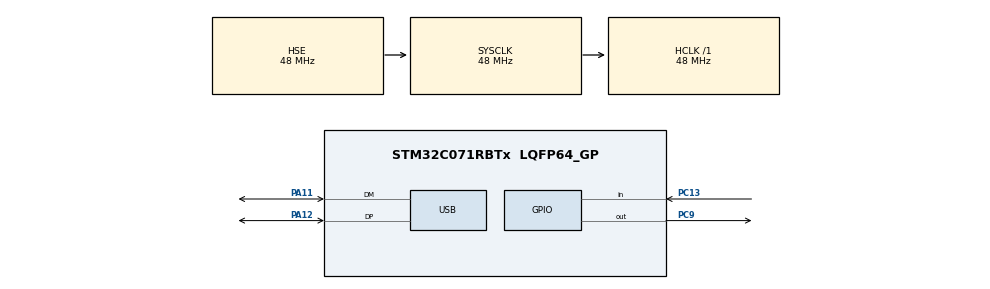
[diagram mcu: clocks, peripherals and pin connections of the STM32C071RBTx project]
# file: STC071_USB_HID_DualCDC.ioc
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Mcu.Family=STM32C0
Mcu.Name=STM32C071RBTx
Mcu.Package=LQFP64_GP
NUCLEO-C071RB.BUTTON=1
NUCLEO-C071RB.Bsp_Common_DEMO=true
NUCLEO-C071RB.LD1=true
NUCLEO-C071RB.LD2=true
NUCLEO-C071RB.VCP=true
NVIC.EXTI4_15_IRQn=true\:0\:0\:false\:false\:true\:false\:true\:true
NVIC.USB_DRD_FS_IRQn=true\:0\:0\:false\:false\:true\:true\:true\:true
PA11\ [PA9].Mode=Device
PA11\ [PA9].Signal=USB_DM
PA12\ [PA10].Mode=Device
PA12\ [PA10].Signal=USB_DP
PA13.Mode=Serial_Wire
PA13.Signal=DEBUG_SWDIO
PA14-BOOT0.Mode=Serial_Wire
PA14-BOOT0.Signal=DEBUG_SWCLK
PA2.Signal=USART2_TX
PA3.Signal=USART2_RX
PC13.Signal=GPIO_Input
PC9.Signal=GPIO_Output
PF0-OSC_IN(PF0).Mode=HSE-External-Oscillator
PF0-OSC_IN(PF0).Signal=RCC_OSC_IN
PF1-OSC_OUT(PF1).Mode=HSE-External-Oscillator
PF1-OSC_OUT(PF1).Signal=RCC_OSC_OUT
ProjectManager.HeapSize=0x1000
ProjectManager.StackSize=0x1000
ProjectManager.TargetToolchain=EWARM V9.30
RCC.ADCFreq_Value=48000000
RCC.AHBFreq_Value=48000000
RCC.CortexFreq_Value=48000000
RCC.EXTERNAL_CLOCK_VALUE=12288000
RCC.HCLKFreq_Value=48000000
RCC.HSE_VALUE=48000000
RCC.HSI48_VALUE=48000000
RCC.HSI_VALUE=48000000
RCC.LSE_VALUE=32768
RCC.SYSCLKFreq_VALUE=48000000
RCC.SYSCLKSource=RCC_SYSCLKSOURCE_HSE
USB.VirtualMode=Device_Only
USBX.BSP.number=1
USBX.Core_System=1
USBX.REG_USBX_DEVICE_CON_CK=0
USBX.USBD_CDCACM_EPINCMD_ADDR=3
USBX.USBD_CDCACM_EPIN_ADDR=2
USBX.USBD_CDCACM_EPOUT_ADDR=2
USBX.USBD_PID=22352
USBX.USBD_PRODUCT_STRING=STM32 USB HID DualCDC Device
USBX.USBD_SERIAL_NUMBER=COMP001
USBX.USBX_DEVICE_SYS_SIZE=8*1024
USBX.UX_DEVICE_APP_MEM_POOL_SIZE_STANDALONE=8*1024
USBX.UX_DEVICE_CDC_ACM=1
USBX.UX_DEVICE_CLASS_CDC_ACM_WRITE_AUTO_ZLP=1
USBX.UX_DEVICE_HID_CORE=1
USBX.UX_DEVICE_HID_MOUSE=1
USBX.UX_Device_Controller=1
USBX.UX_Device_CoreStack=1
USBX.UX_MAX_SLAVE_CLASS_DRIVER=3
USBX.UX_SLAVE_REQUEST_DATA_MAX_LENGTH=512
USBX0.BSP.STBoard=false
USBX0.BSP.api=Unknown
USBX0.BSP.instance=USB
USBX0.BSP.ip=USB
USBX0.BSP.mode=Device_Only
USBX0.BSP.name=USB_Device
USBX0.BSP.solution=USB
VP_NUCLEO-C071RB_VS_BSP_COMMON.Mode=COMMON
VP_USBX_Core_System.Mode=Core_System
VP_USBX_UX\ Device\ CDC\ ACM\ Class_FS.Mode=UX_Device_class_CDC_ACM_FS
VP_USBX_UX\ Device\ Controller_FS.Mode=UX_Device_Controller_FS
VP_USBX_UX\ Device\ CoreStack_FS.Mode=UX_Device_CoreStack_FS
VP_USBX_UX\ Device\ HID_CORE_FS.Mode=UX_Device_class_HID_CORE_FS
VP_USBX_UX\ Device\ HID_MOUSE_FS.Mode=UX_Device_class_HID_MOUSE_FS
board=NUCLEO-C071RB

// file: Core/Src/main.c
/* USER CODE BEGIN Header */
/**
  ******************************************************************************
  * @file           : main.c
  * @brief          : Main program body
  ******************************************************************************
  * @attention
  *
  * Copyright (c) 2026 STMicroelectronics.
  * All rights reserved.
  *
  * This software is licensed under terms that can be found in the LICENSE file
  * in the root directory of this software component.
  * If no LICENSE file comes with this software, it is provided AS-IS.
  *
  ******************************************************************************
  */
/* USER CODE END Header */
#include "main.h"
#include "usb.h"
#include "app_usbx_device.h"
#include "gpio.h"

/* USER CODE BEGIN Includes */
#include "ux_device_cdc_acm.h"
/* USER CODE END Includes */

COM_InitTypeDef BspCOMInit;
__IO uint32_t BspButtonState = BUTTON_RELEASED;

/* USER CODE BEGIN PV */

const char software_version[] = "V0.0.1";

volatile uint8_t tx_pending_1 = 0;
volatile uint8_t tx_pending_2 = 0;
volatile uint8_t mouse_state = BUTTON_RELEASED;
/* USER CODE END PV */

void SystemClock_Config(void);
/* USER CODE BEGIN PFP */
void init_array(void);
/* USER CODE END PFP */

/* USER CODE BEGIN 0 */
extern PCD_HandleTypeDef hpcd_USB_DRD_FS;
/* USER CODE END 0 */

int main(void)
{

  /* MCU Configuration--------------------------------------------------------*/

  /* Reset of all peripherals, Initializes the Flash interface and the Systick. */
  HAL_Init();

  /* Configure the system clock */
  SystemClock_Config();

  /* Initialize all configured peripherals */
  MX_GPIO_Init();
  MX_USBX_Device_Init();

  /* Initialize leds */
  BSP_LED_Init(LED_GREEN);
  BSP_LED_Init(LED_BLUE);

  /* Initialize USER push-button, will be used to trigger an interrupt each time it's pressed.*/
  BSP_PB_Init(BUTTON_USER, BUTTON_MODE_EXTI);

  /* Initialize COM1 port (115200, 8 bits (7-bit data + 1 stop bit), no parity */
  BspCOMInit.BaudRate   = 115200;
  BspCOMInit.WordLength = COM_WORDLENGTH_8B;
  BspCOMInit.StopBits   = COM_STOPBITS_1;
  BspCOMInit.Parity     = COM_PARITY_NONE;
  BspCOMInit.HwFlowCtl  = COM_HWCONTROL_NONE;
  if (BSP_COM_Init(COM1, &BspCOMInit) != BSP_ERROR_NONE)
  {
    Error_Handler();
  }

  /* USER CODE BEGIN BSP */

  /* -- Sample board code to send message over COM1 port ---- */

  printf("%s\r\n", software_version);
  printf("USB HID DualCDC!\r\n");

  /* -- Sample board code to switch on leds ---- */
  BSP_LED_On(LED_GREEN);
  BSP_LED_On(LED_BLUE);

  /* USER CODE END BSP */

  /* Infinite loop */
  /* USER CODE BEGIN WHILE */
  init_array();
  while (1)
  {

    /* -- Sample board code for User push-button in interrupt mode ---- */
    if (BspButtonState == BUTTON_PRESSED)
    {
      /* Update button state */
      BspButtonState = BUTTON_RELEASED;
      /* -- Sample board code to toggle leds ---- */
      BSP_LED_Toggle(LED_GREEN);
      BSP_LED_Toggle(LED_BLUE);

      /* ..... Perform your action ..... */
    }
    /* USER CODE END WHILE */

    /* USER CODE BEGIN 3 */
    USBX_Device_Process(NULL);
  }
  /* USER CODE END 3 */
}

void SystemClock_Config(void)
{
  RCC_OscInitTypeDef RCC_OscInitStruct = {0};
  RCC_ClkInitTypeDef RCC_ClkInitStruct = {0};

  __HAL_FLASH_SET_LATENCY(FLASH_LATENCY_1);

  /** Initializes the RCC Oscillators according to the specified parameters
  * in the RCC_OscInitTypeDef structure.
  */
  RCC_OscInitStruct.OscillatorType = RCC_OSCILLATORTYPE_HSE|RCC_OSCILLATORTYPE_HSI48;
  RCC_OscInitStruct.HSEState = RCC_HSE_ON;
  RCC_OscInitStruct.HSI48State = RCC_HSI48_ON;

  if (HAL_RCC_OscConfig(&RCC_OscInitStruct) != HAL_OK)
  {
    Error_Handler();
  }

  /** Initializes the CPU, AHB and APB buses clocks
  */
  RCC_ClkInitStruct.ClockType = RCC_CLOCKTYPE_HCLK|RCC_CLOCKTYPE_SYSCLK
                              |RCC_CLOCKTYPE_PCLK1;
  RCC_ClkInitStruct.SYSCLKSource = RCC_SYSCLKSOURCE_HSE;
  RCC_ClkInitStruct.SYSCLKDivider = RCC_SYSCLK_DIV1;
  RCC_ClkInitStruct.AHBCLKDivider = RCC_HCLK_DIV1;
  RCC_ClkInitStruct.APB1CLKDivider = RCC_APB1_DIV1;

  if (HAL_RCC_ClockConfig(&RCC_ClkInitStruct, FLASH_LATENCY_1) != HAL_OK)
  {
    Error_Handler();
  }
}

/* USER CODE BEGIN 4 */
void init_array(void)
{
    for (uint32_t i = 0; i < APP_TX_DATA_SIZE; i++)
    {
        UserTx1BufferFS[i] = (uint8_t)(i & 0xFF); // Fill with incremental byte values
        UserTx2BufferFS[i] = (uint8_t)(i & 0xFF); // Fill with incremental byte values
    }
}

/* USER CODE END 4 */

/**
  * @brief  BSP Push Button callback
  * @param  Button Specifies the pressed button
  * @retval None
  */
void BSP_PB_Callback(Button_TypeDef Button)
{
  if (Button == BUTTON_USER)
  {
    BspButtonState = BUTTON_PRESSED;
    tx_pending_1 = 1;
    tx_pending_2 = 1;
    mouse_state = BUTTON_PRESSED;
  }
}

void Error_Handler(void)
{
  __disable_irq();
  while (1)
  {
  }
}
